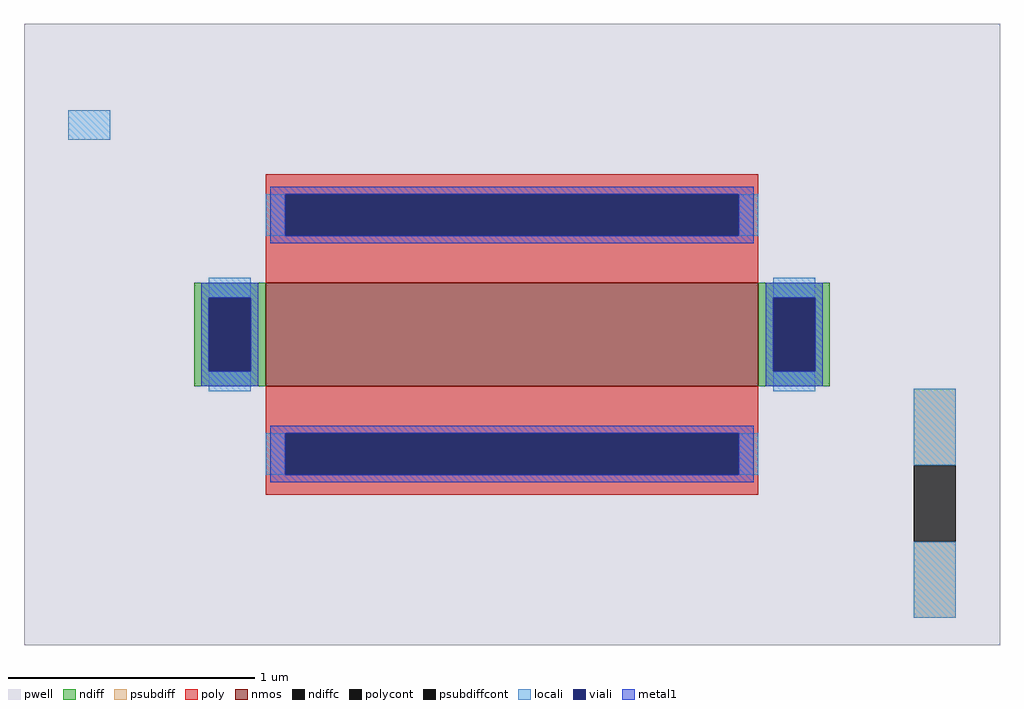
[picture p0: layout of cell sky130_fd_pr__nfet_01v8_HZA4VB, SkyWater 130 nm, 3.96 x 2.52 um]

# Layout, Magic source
magic
tech sky130A
<< pwell >>
rect -198 -126 198 126
<< nmos >>
rect -100 -21 100 21
<< ndiff >>
rect -129 15 -100 21
rect -129 -15 -123 15
rect -106 -15 -100 15
rect -129 -21 -100 -15
rect 100 15 129 21
rect 100 -15 106 15
rect 123 -15 129 15
rect 100 -21 129 -15
<< ndiffc >>
rect -123 -15 -106 15
rect 106 -15 123 15
<< psubdiff >>
rect 163 -53 180 -22
rect 163 -115 180 -84
<< psubdiffcont >>
rect 163 -84 180 -53
<< poly >>
rect -100 57 100 65
rect -100 40 -92 57
rect 92 40 100 57
rect -100 21 100 40
rect -100 -40 100 -21
rect -100 -57 -92 -40
rect 92 -57 100 -40
rect -100 -65 100 -57
<< polycont >>
rect -92 40 92 57
rect -92 -57 92 -40
<< locali >>
rect -180 79 -163 91
rect -100 40 -92 57
rect 92 40 100 57
rect -123 15 -106 23
rect -123 -23 -106 -15
rect 106 15 123 23
rect 106 -23 123 -15
rect -100 -57 -92 -40
rect 92 -57 100 -40
rect 163 -53 180 -22
rect 163 -115 180 -84
<< viali >>
rect -92 40 92 57
rect -123 -15 -106 15
rect 106 -15 123 15
rect -92 -57 92 -40
<< metal1 >>
rect -98 57 98 60
rect -98 40 -92 57
rect 92 40 98 57
rect -98 37 98 40
rect -126 15 -103 21
rect -126 -15 -123 15
rect -106 -15 -103 15
rect -126 -21 -103 -15
rect 103 15 126 21
rect 103 -15 106 15
rect 123 -15 126 15
rect 103 -21 126 -15
rect -98 -40 98 -37
rect -98 -57 -92 -40
rect 92 -57 98 -40
rect -98 -60 98 -57
<< properties >>
string FIXED_BBOX -171 -99 171 99
string gencell sky130_fd_pr__nfet_01v8
string library sky130
string parameters w 0.42 l 2.0 m 1 nf 1 diffcov 100 polycov 100 guard 1 glc 1 grc 1 gtc 1 gbc 1 tbcov 100 rlcov 100 topc 1 botc 1 poverlap 0 doverlap 1 lmin 0.15 wmin 0.42 compatible {sky130_fd_pr__nfet_01v8 sky130_fd_pr__nfet_01v8_lvt  sky130_fd_bs_flash__special_sonosfet_star  sky130_fd_pr__nfet_g5v0d10v5 sky130_fd_pr__nfet_05v0_nvt  sky130_fd_pr__nfet_03v3_nvt} full_metal 1 viasrc 100 viadrn 100 viagate 100 viagb 0 viagr 0 viagl 0 viagt 0
<< end >>
